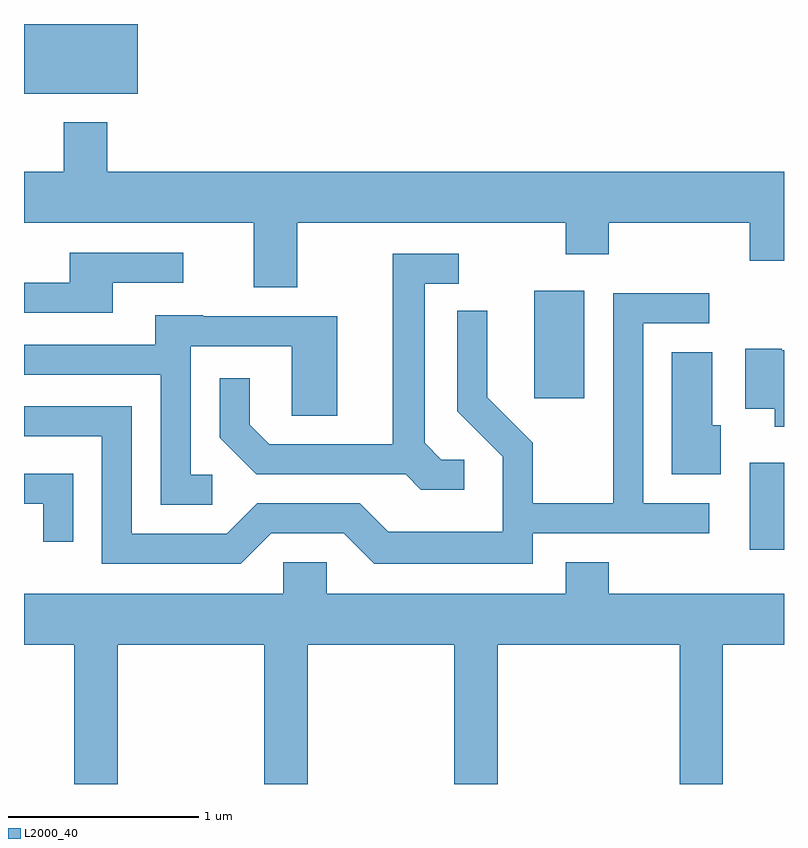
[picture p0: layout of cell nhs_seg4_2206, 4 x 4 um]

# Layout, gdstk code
import gdstk
lib = gdstk.Library(unit=1e-6, precision=1e-09)
def R(c, l, rs):  # rectangles x0, y0, x1, y1
    for r in rs: c.add(gdstk.rectangle(r[:2], r[2:], *l))
def P(c, l, *ps):  # polygons
    for p in ps: c.add(gdstk.Polygon(p, *l))
L2000_40 = (2000, 40)

nhs_seg4_2206 = lib.new_cell('nhs_seg4_2206')
R(nhs_seg4_2206, L2000_40, [(253.431,1315.216,253.611,1315.674), (252.296,1316.011,252.559,1316.579), (249.611,1317.616,250.209,1317.982)])
P(nhs_seg4_2206, L2000_40, [(251.049,1316.936),(252.461,1316.936),(252.461,1316.771),(252.689,1316.771),(252.689,1316.936),(253.431,1316.936),(253.431,1316.736),(253.611,1316.736),(253.611,1317.204),(250.049,1317.204),(250.049,1317.464),(249.821,1317.464),(249.821,1317.204),(249.611,1317.204),(249.611,1316.936),(250.821,1316.936),(250.821,1316.596),(251.049,1316.596)],
  [(250.079,1316.621),(250.448,1316.621),(250.448,1316.779),(249.851,1316.779),(249.851,1316.619),(249.611,1316.619),(249.611,1316.461),(250.079,1316.461)],
  [(251.928,1315.689),(251.807,1315.689),(251.719,1315.777),(251.719,1316.616),(251.898,1316.616),(251.898,1316.774),(251.551,1316.774),(251.551,1315.769),(250.902,1315.769),(250.799,1315.872),(250.799,1316.118),(250.641,1316.118),(250.641,1315.804),(250.834,1315.611),(251.619,1315.611),(251.699,1315.531),(251.928,1315.531)],
  [(250.912,1315.301),(251.294,1315.301),(251.454,1315.141),(252.289,1315.141),(252.289,1315.301),(253.218,1315.301),(253.218,1315.459),(252.869,1315.459),(252.869,1316.406),(253.218,1316.406),(253.218,1316.564),(252.711,1316.564),(252.711,1315.459),(252.289,1315.459),(252.289,1315.777),(252.049,1316.017),(252.049,1316.473),(251.891,1316.473),(251.891,1315.944),(252.131,1315.704),(252.131,1315.309),(251.527,1315.309),(251.377,1315.459),(250.839,1315.459),(250.679,1315.299),(250.179,1315.299),(250.179,1315.969),(249.611,1315.969),(249.611,1315.811),(250.021,1315.811),(250.021,1315.141),(250.752,1315.141)],
  [(250.603,1315.609),(250.489,1315.609),(250.489,1316.286),(251.021,1316.286),(251.021,1315.921),(251.259,1315.921),(251.259,1316.444),(250.555,1316.444),(250.555,1316.449),(250.301,1316.449),(250.301,1316.294),(249.611,1316.294),(249.611,1316.136),(250.331,1316.136),(250.331,1315.451),(250.603,1315.451)],
  [(253.611,1316.264),(253.6,1316.264),(253.6,1316.274),(253.406,1316.274),(253.406,1315.956),(253.561,1315.956),(253.561,1315.861),(253.611,1315.861)],
  [(253.279,1315.869),(253.234,1315.869),(253.234,1316.254),(253.021,1316.254),(253.021,1315.611),(253.279,1315.611)],
  [(249.869,1315.614),(249.611,1315.614),(249.611,1315.456),(249.711,1315.456),(249.711,1315.258),(249.869,1315.258)],
  [(250.104,1314.716),(250.876,1314.716),(250.876,1313.982),(251.104,1313.982),(251.104,1314.716),(251.876,1314.716),(251.876,1313.982),(252.104,1313.982),(252.104,1314.716),(253.061,1314.716),(253.061,1313.982),(253.289,1313.982),(253.289,1314.716),(253.611,1314.716),(253.611,1314.984),(252.689,1314.984),(252.689,1315.149),(252.461,1315.149),(252.461,1314.984),(251.204,1314.984),(251.204,1315.149),(250.976,1315.149),(250.976,1314.984),(249.611,1314.984),(249.611,1314.716),(249.876,1314.716),(249.876,1313.982),(250.104,1313.982)])

lib.write_gds('nhs_seg4_2206.gds')
